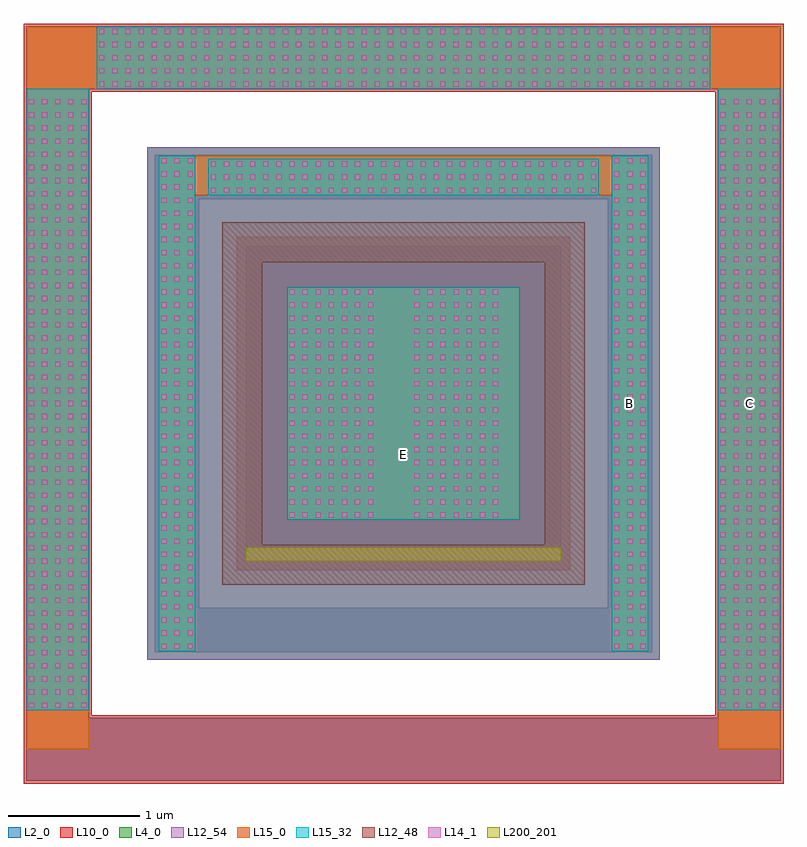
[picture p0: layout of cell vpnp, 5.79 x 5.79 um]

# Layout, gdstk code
import gdstk
lib = gdstk.Library(unit=1e-6, precision=1e-09)
def R(c, l, rs):  # rectangles x0, y0, x1, y1
    for r in rs: c.add(gdstk.rectangle(r[:2], r[2:], *l))
def A(c, l, x, y, w, h, nx, ny, dx, dy):  # array of equal rectangles
    R(c, l, [(x+i*dx, y+j*dy, x+i*dx+w, y+j*dy+h) for i in range(nx) for j in range(ny)])
L2_0 = (2, 0)
L4_0 = (4, 0)
L10_0 = (10, 0)
L12_48 = (12, 48)
L12_54 = (12, 54)
L14_1 = (14, 1)
L15_0 = (15, 0)
L15_32 = (15, 32)
L200_201 = (200, 201)

vpnp = lib.new_cell('vpnp')
R(vpnp, L2_0, [(-9.379,-1.409,-3.627,-0.929), (-9.379,-0.929,-8.899,3.863), (-4.107,-0.929,-3.627,3.863), (-8.399,-0.429,-4.607,-0.089), (-8.399,-0.089,-8.059,3.023), (-4.947,-0.089,-4.607,3.023), (-7.703,0.267,-5.303,2.667), (-8.399,3.023,-4.607,3.363), (-9.379,3.863,-3.627,4.343)])
R(vpnp, L4_0, [(-8.455,-0.485,-4.551,3.419)])
R(vpnp, L10_0, [(-9.4,-1.43,-3.606,-0.908), (-9.4,-0.908,-8.878,3.842), (-4.128,-0.908,-3.606,3.842), (-7.773,0.197,-5.233,2.737), (-9.4,3.842,-3.606,4.364)])
R(vpnp, L12_48, [(-7.884,0.086,-5.122,0.392), (-7.884,0.392,-7.578,2.542), (-5.428,0.392,-5.122,2.542), (-7.884,2.542,-5.122,2.848)])
R(vpnp, L12_54, [(-8.455,-0.485,-4.551,3.419)])
A(vpnp, L14_1, -9.359, -0.853, 0.04, 0.04, 5, 47, 0.1, 0.1)
A(vpnp, L14_1, -4.087, -0.853, 0.04, 0.04, 5, 47, 0.1, 0.1)
A(vpnp, L14_1, -8.349, -0.403, 0.04, 0.04, 3, 38, 0.1, 0.1)
A(vpnp, L14_1, -4.897, -0.403, 0.04, 0.04, 3, 38, 0.1, 0.1)
A(vpnp, L14_1, -7.373, 0.597, 0.04, 0.04, 7, 18, 0.1, 0.1)
A(vpnp, L14_1, -6.421, 0.597, 0.04, 0.04, 7, 18, 0.1, 0.1)
A(vpnp, L14_1, -7.973, 3.073, 0.04, 0.04, 30, 3, 0.1, 0.1)
A(vpnp, L14_1, -8.823, 3.883, 0.04, 0.04, 47, 5, 0.1, 0.1)
R(vpnp, L15_0, [(-9.377,-1.169,-8.901,4.341), (-4.105,-1.169,-3.629,4.341), (-8.367,-0.421,-8.091,3.355), (-4.915,-0.421,-4.639,3.355), (-7.391,0.579,-5.615,2.355), (-8.091,3.055,-4.915,3.355), (-8.901,3.865,-4.105,4.341)])
R(vpnp, L15_32, [(-9.377,-0.871,-8.901,3.865), (-4.105,-0.871,-3.629,3.865), (-8.367,-0.421,-8.091,3.355), (-4.915,-0.421,-4.639,3.355), (-7.391,0.579,-5.615,2.355), (-7.991,3.055,-5.015,3.331), (-8.841,3.865,-4.165,4.341)])
R(vpnp, L200_201, [(-7.703,0.267,-5.303,0.367)])
vpnp.add(gdstk.Label('E', (-6.503,1.079), layer=15, texttype=20))
vpnp.add(gdstk.Label('B', (-4.777,1.467), layer=15, texttype=20))
vpnp.add(gdstk.Label('C', (-3.867,1.467), layer=15, texttype=20))

lib.write_gds('vpnp.gds')
